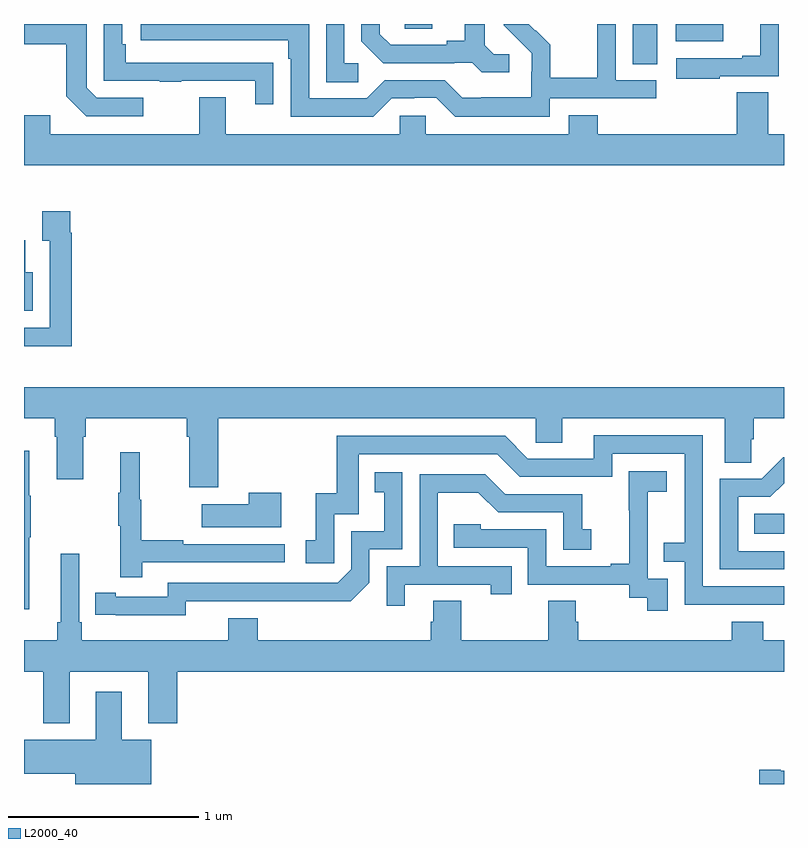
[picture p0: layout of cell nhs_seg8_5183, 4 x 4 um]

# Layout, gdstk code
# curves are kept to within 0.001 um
import gdstk
lib = gdstk.Library(unit=1e-6, precision=1e-09)
def R(c, l, rs):  # rectangles x0, y0, x1, y1
    for r in rs: c.add(gdstk.rectangle(r[:2], r[2:], *l))
def P(c, l, *ps):  # polygons
    for p in ps: c.add(gdstk.Polygon(p, *l))
L2000_40 = (2000, 40)

nhs_seg8_5183 = lib.new_cell('nhs_seg8_5183')
R(nhs_seg8_5183, L2000_40, [(426.844,1125.218,427,1125.322), (426.203,1127.689,426.334,1127.9), (426.431,1127.81,426.679,1127.9), (425.004,1127.875,425.149,1127.9)])
P(nhs_seg8_5183, L2000_40, [(425.766,1127.508),(426.328,1127.508),(426.328,1127.604),(426.114,1127.604),(426.114,1127.9),(426.018,1127.9),(426.018,1127.84),(426.016,1127.84),(426.016,1127.617),(425.771,1127.617),(425.771,1127.791),(425.694,1127.868),(425.691,1127.865),(425.656,1127.9),(425.526,1127.9),(425.526,1127.894),(425.672,1127.746),(425.672,1127.649),(425.67,1127.649),(425.67,1127.515),(425.407,1127.515),(425.407,1127.511),(425.307,1127.511),(425.214,1127.604),(424.899,1127.604),(424.803,1127.508),(424.5,1127.508),(424.5,1127.9),(423.615,1127.9),(423.615,1127.814),(424.391,1127.814),(424.391,1127.717),(424.404,1127.717),(424.404,1127.412),(424.839,1127.412),(424.935,1127.508),(425.054,1127.508),(425.054,1127.511),(425.169,1127.511),(425.269,1127.411),(425.766,1127.411)],
  [(426.662,1127.625),(426.972,1127.625),(426.972,1127.9),(426.875,1127.9),(426.875,1127.734),(426.779,1127.734),(426.779,1127.721),(426.432,1127.721),(426.432,1127.613),(426.662,1127.613)],
  [(424.759,1127.694),(424.686,1127.694),(424.686,1127.9),(424.59,1127.9),(424.59,1127.593),(424.759,1127.593)],
  [(423.628,1127.511),(423.384,1127.511),(423.33,1127.565),(423.33,1127.9),(423,1127.9),(423,1127.794),(423.222,1127.794),(423.222,1127.521),(423.327,1127.415),(423.628,1127.415)],
  [(425.554,1127.742),(425.472,1127.742),(425.425,1127.789),(425.425,1127.9),(425.321,1127.9),(425.321,1127.813),(425.225,1127.813),(425.225,1127.79),(424.93,1127.79),(424.873,1127.847),(424.873,1127.9),(424.776,1127.9),(424.776,1127.81),(424.892,1127.694),(425.264,1127.694),(425.264,1127.697),(425.358,1127.697),(425.41,1127.645),(425.554,1127.645)],
  [(424.313,1127.696),(424.211,1127.696),(424.211,1127.697),(423.536,1127.697),(423.536,1127.794),(423.516,1127.794),(423.516,1127.9),(423.42,1127.9),(423.42,1127.601),(423.715,1127.601),(423.715,1127.596),(423.827,1127.596),(423.827,1127.601),(424.217,1127.601),(424.217,1127.478),(424.313,1127.478)],
  [(427,1127.32),(426.917,1127.32),(426.917,1127.54),(426.751,1127.54),(426.751,1127.32),(426.02,1127.32),(426.02,1127.419),(425.867,1127.419),(425.867,1127.32),(425.115,1127.32),(425.115,1127.418),(424.977,1127.418),(424.977,1127.32),(424.063,1127.32),(424.063,1127.515),(423.923,1127.515),(423.923,1127.32),(423.139,1127.32),(423.139,1127.419),(423,1127.419),(423,1127.156),(427,1127.156)],
  [(423.251,1126.802),(423.244,1126.802),(423.244,1126.915),(423.095,1126.915),(423.095,1126.759),(423.135,1126.759),(423.135,1126.302),(423,1126.302),(423,1126.205),(423.251,1126.205)],
  [(423.046,1126.594),(423.007,1126.594),(423.007,1126.762),(423,1126.762),(423,1126.391),(423.046,1126.391)],
  [(424.022,1125.824),(425.694,1125.824),(425.694,1125.697),(425.833,1125.697),(425.833,1125.824),(426.689,1125.824),(426.689,1125.592),(426.828,1125.592),(426.828,1125.715),(426.842,1125.715),(426.842,1125.824),(427,1125.824),(427,1125.988),(423,1125.988),(423,1125.824),(423.161,1125.824),(423.161,1125.728),(423.173,1125.728),(423.173,1125.504),(423.313,1125.504),(423.313,1125.728),(423.326,1125.728),(423.326,1125.824),(423.857,1125.824),(423.857,1125.728),(423.869,1125.728),(423.869,1125.462),(424.022,1125.462)],
  [(427,1124.94),(426.573,1124.94),(426.573,1125.735),(425.999,1125.735),(425.999,1125.612),(425.652,1125.612),(425.532,1125.732),(424.645,1125.732),(424.645,1125.43),(424.535,1125.43),(424.535,1125.183),(424.482,1125.183),(424.482,1125.063),(424.632,1125.063),(424.632,1125.321),(424.761,1125.321),(424.761,1125.636),(425.49,1125.636),(425.61,1125.516),(426.096,1125.516),(426.096,1125.639),(426.477,1125.639),(426.477,1125.17),(426.367,1125.17),(426.367,1125.069),(426.477,1125.069),(426.477,1124.844),(427,1124.843)],
  [(423.028,1125.199),(423.036,1125.199),(423.036,1125.416),(423.028,1125.416),(423.028,1125.655),(423,1125.655),(423,1124.82),(423.028,1124.82)],
  [(423.623,1125.066),(424.372,1125.066),(424.372,1125.162),(423.839,1125.162),(423.839,1125.182),(423.616,1125.182),(423.616,1125.396),(423.608,1125.396),(423.608,1125.646),(423.506,1125.646),(423.506,1125.433),(423.495,1125.433),(423.495,1125.259),(423.506,1125.259),(423.506,1124.988),(423.623,1124.988)],
  [(427,1125.126),(426.759,1125.126),(426.759,1125.411),(426.928,1125.411),(427,1125.483),(427,1125.62),(426.995,1125.62),(426.882,1125.507),(426.663,1125.507),(426.663,1125.03),(427,1125.03)],
  [(426.387,1124.979),(426.282,1124.979),(426.282,1125.209),(426.284,1125.209),(426.284,1125.437),(426.382,1125.437),(426.382,1125.547),(426.184,1125.547),(426.184,1125.341),(426.185,1125.341),(426.185,1125.058),(426.089,1125.058),(426.089,1125.045),(425.748,1125.045),(425.748,1125.24),(425.403,1125.24),(425.403,1125.267),(425.263,1125.267),(425.263,1125.144),(425.652,1125.144),(425.652,1124.949),(426.186,1124.949),(426.186,1124.881),(426.279,1124.881),(426.279,1124.811),(426.387,1124.811)],
  [(423.852,1124.862),(424.72,1124.861),(424.818,1124.958),(424.818,1125.135),(424.992,1125.135),(424.992,1125.541),(424.846,1125.541),(424.846,1125.435),(424.895,1125.435),(424.895,1125.231),(424.722,1125.231),(424.722,1125.03),(424.65,1124.958),(423.756,1124.958),(423.756,1124.886),(423.484,1124.886),(423.484,1124.906),(423.376,1124.906),(423.376,1124.79),(423.852,1124.789)],
  [(425.005,1124.949),(425.456,1124.949),(425.456,1124.898),(425.567,1124.898),(425.567,1125.045),(425.178,1125.045),(425.178,1125.434),(425.392,1125.434),(425.496,1125.33),(425.838,1125.33),(425.838,1125.132),(425.986,1125.132),(425.986,1125.241),(425.937,1125.241),(425.937,1125.426),(425.533,1125.426),(425.428,1125.531),(425.082,1125.531),(425.082,1125.045),(424.908,1125.045),(424.908,1124.838),(425.005,1124.838)],
  [(424.354,1125.433),(424.184,1125.433),(424.184,1125.373),(423.935,1125.373),(423.935,1125.251),(424.354,1125.251)],
  [(423.241,1124.492),(423.653,1124.492),(423.653,1124.219),(423.806,1124.219),(423.806,1124.492),(427,1124.492),(427,1124.656),(426.89,1124.656),(426.89,1124.755),(426.725,1124.755),(426.725,1124.656),(425.918,1124.656),(425.918,1124.754),(425.905,1124.754),(425.905,1124.864),(425.758,1124.864),(425.758,1124.656),(425.301,1124.656),(425.301,1124.864),(425.153,1124.864),(425.153,1124.754),(425.141,1124.754),(425.141,1124.656),(424.229,1124.656),(424.229,1124.773),(424.076,1124.773),(424.076,1124.656),(423.305,1124.656),(423.305,1124.752),(423.291,1124.752),(423.291,1125.112),(423.194,1125.112),(423.194,1124.752),(423.175,1124.752),(423.175,1124.656),(423,1124.656),(423,1124.492),(423.101,1124.492),(423.101,1124.219),(423.241,1124.219)],
  [(423.67,1124.134),(423.514,1124.134),(423.514,1124.386),(423.377,1124.386),(423.377,1124.134),(423,1124.134),(423,1123.955),(423.269,1123.955),(423.269,1123.9),(423.67,1123.9)],
  [(427,1123.969),(426.982,1123.969),(426.982,1123.976),(426.87,1123.976),(426.87,1123.9),(427,1123.9)])

lib.write_gds('nhs_seg8_5183.gds')
